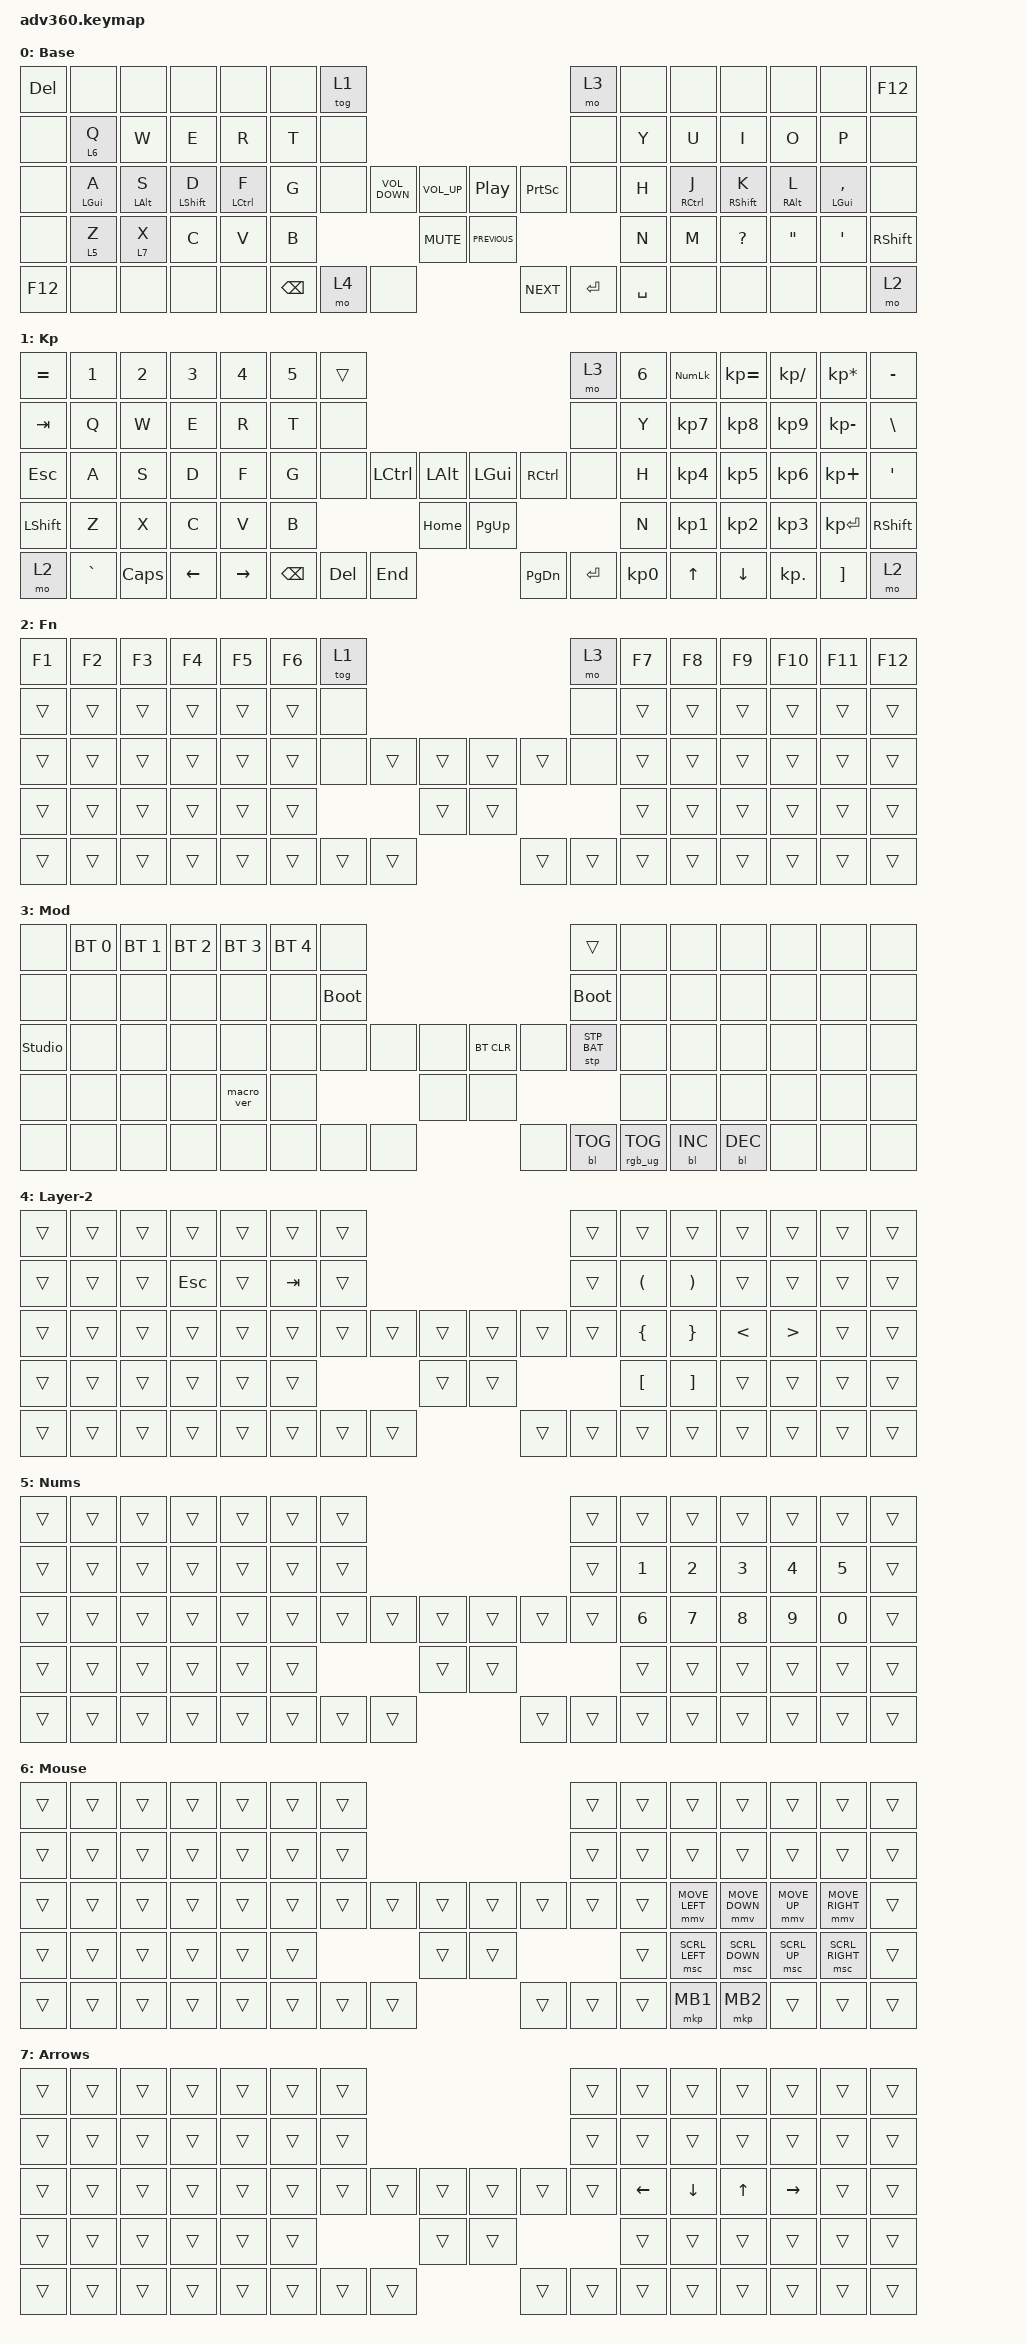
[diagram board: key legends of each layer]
#include <behaviors.dtsi>
#include <dt-bindings/zmk/keys.h>
#include <dt-bindings/zmk/bt.h>
#include <dt-bindings/zmk/rgb.h>
#include <dt-bindings/zmk/stp.h>
#include <dt-bindings/zmk/backlight.h>

#define ZMK_POINTING_DEFAULT_MOVE_VAL 1500
#define ZMK_POINTING_DEFAULT_SCRL_VAL 20

#include <dt-bindings/zmk/pointing.h>

/ {
  combos {
    compatible = "zmk,combos";

    combo_eq {
      timeout-ms = <30>;
      key-positions = <22 23>;
      bindings = <&kp EQUAL>;
    };
    combo_plus {
      timeout-ms = <30>;
      key-positions = <23 24>;
      bindings = <&kp PLUS>;
    };
    combo_pipe {
      timeout-ms = <30>;
      key-positions = <24 25>;
      bindings = <&kp PIPE>;
    };
    combo_fslash {
      timeout-ms = <30>;
      key-positions = <40 41>;
      bindings = <&kp FSLH>;
    };
    combo_bslash {
      timeout-ms = <30>;
      key-positions = <41 42>;
      bindings = <&kp BSLH>;
    };
    combo_colon {
      timeout-ms = <30>;
      key-positions = <42 43>;
      bindings = <&kp COLON>;
    };
    combo_semicolon {
      timeout-ms = <30>;
      key-positions = <43 44>;
      bindings = <&kp SEMI>;
    };
    combo_underscore {
      timeout-ms = <30>;
      key-positions = <54 55>;
      bindings = <&kp UNDER>;
    };
    combo_hyphen {
      timeout-ms = <30>;
      key-positions = <55 56>;
      bindings = <&kp MINUS>;
    };
    combo_grave {
      timeout-ms = <30>;
      key-positions = <15 16>;
      bindings = <&kp GRAVE>;
    };
    combo_tilde {
      timeout-ms = <30>;
      key-positions = <16 17>;
      bindings = <&kp TILDE>;
    };
    combo_tab {
      timeout-ms = <30>;
      key-positions = <18 19>;
      bindings = <&kp TAB>;
    };
    combo_esc {
      timeout-ms = <30>;
      key-positions = <32 33>;
      bindings = <&kp ESC>;
    };
    combo_ampersand {
      timeout-ms = <30>;
      key-positions = <29 30 31>;
      bindings = <&kp AMPS>;
    };
    combo_dollar {
      timeout-ms = <30>;
      key-positions = <30 31 32>;
      bindings = <&kp DOLLAR>;
    };
    combo_star {
      timeout-ms = <30>;
      key-positions = <47 48>;
      bindings = <&kp STAR>;
    };
    combo_percent {
      timeout-ms = <30>;
      key-positions = <48 49>;
      bindings = <&kp PRCNT>;
    };
    combo_dot_1 {
      timeout-ms = <30>;
      key-positions = <32 41>;
      bindings = <&kp DOT>;
    };
    combo_dot_2 {
      timeout-ms = <30>;
      key-positions = <41 42 43 44>;
      bindings = <&kp DOT>;
    };
  };

  behaviors {
    #include "macros.dtsi"
    #include "version.dtsi"

    hm: homerow_mods {
        compatible = "zmk,behavior-hold-tap";
        label = "HOMEROW_MODS";
        #binding-cells = <2>;
        tapping-term-ms = <150>;
        require-prior-idle-ms = <100>;
        quick_tap_ms = <175>;
        flavor = "tap-preferred";
        bindings = <&kp>, <&kp>;
    };
    layer_tap: layer_tap_hold {
        compatible = "zmk,behavior-hold-tap";
        label = "LAYER_TAP_HOLD";
        #binding-cells = <2>;
        tapping-term-ms = <150>;
        require-prior-idle-ms = <100>;
        quick_tap_ms = <175>;
        flavor = "tap-preferred";
        bindings = <&mo>, <&kp>;
    };
  };

  keymap {
    compatible = "zmk,keymap";

    default_layer {
      display-name = "Base";
      bindings = <
        &kp DEL   &none    &none   &none   &none     &none &tog 1                                                                                       &mo 3 &none  &none       &none       &none       &none   &kp F12
        &none  &layer_tap 6 Q     &kp W     &kp E    &kp R    &kp T      &none                                                                          &none &kp Y  &kp U       &kp I       &kp O       &kp P   &none
        &none   &hm LGUI A &hm LALT S &hm LSHFT D &hm LCTRL F    &kp G  &none     &kp C_VOLUME_DOWN &kp C_VOLUME_UP &kp C_PLAY_PAUSE &kp PRINTSCREEN    &none &kp H  &hm RCTRL J &hm RSHFT K &hm RALT L  &hm LGUI COMMA  &none
        &none &layer_tap 5 Z &layer_tap 7 X    &kp C    &kp V      &kp B                            &kp C_MUTE &kp C_PREVIOUS                                 &kp N  &kp M       &kp QMARK   &kp DQT     &kp SQT &kp RSHFT
        &kp F12   &none      &none    &none    &none                               &kp BSPC &mo 4 &none &kp C_NEXT &kp ENTER &kp SPACE                               &none &none       &none       &none       &mo 2
      >;
    };
    keypad {
      display-name = "Kp";
      bindings = <
        &kp EQUAL &kp N1    &kp N2   &kp N3   &kp N4     &kp N5 &trans                                                           &mo 3 &kp N6 &kp KP_NUM &kp KP_EQUAL &kp KP_DIVIDE &kp KP_MULTIPLY &kp MINUS
        &kp TAB   &kp Q     &kp W    &kp E    &kp R      &kp T  &none                                                            &none &kp Y  &kp KP_N7  &kp KP_N8    &kp KP_N9     &kp KP_MINUS    &kp BSLH
        &kp ESC   &kp A     &kp S    &kp D    &kp F      &kp G  &none           &kp LCTRL &kp LALT &kp LGUI  &kp RCTRL           &none &kp H  &kp KP_N4  &kp KP_N5    &kp KP_N6     &kp KP_PLUS     &kp SQT
        &kp LSHFT &kp Z     &kp X    &kp C    &kp V      &kp B                            &kp HOME &kp PG_UP                           &kp N  &kp KP_N1  &kp KP_N2    &kp KP_N3     &kp KP_ENTER    &kp RSHFT
        &mo 2     &kp GRAVE &kp CAPS &kp LEFT &kp RIGHT                &kp BSPC &kp DEL   &kp END  &kp PG_DN &kp ENTER &kp KP_N0              &kp UP     &kp DOWN     &kp KP_DOT    &kp RBKT        &mo 2
      >;
    };
    fn {
      display-name = "Fn";
      bindings = <
        &kp F1 &kp F2 &kp F3 &kp F4 &kp F5 &kp F6 &tog 1                                           &mo 3 &kp F7 &kp F8 &kp F9 &kp F10 &kp F11 &kp F12
        &trans &trans &trans &trans &trans &trans  &none                                           &none &trans &trans &trans &trans  &trans  &trans
        &trans &trans &trans &trans &trans &trans  &none        &trans &trans &trans &trans        &none &trans &trans &trans &trans  &trans  &trans
        &trans &trans &trans &trans &trans &trans                      &trans &trans                     &trans &trans &trans &trans  &trans  &trans
        &trans &trans &trans &trans &trans               &trans &trans &trans &trans &trans &trans              &trans &trans &trans  &trans  &trans
      >;
    };
    mod {
      display-name = "Mod";
      bindings = <
        &none &bt BT_SEL 0 &bt BT_SEL 1 &bt BT_SEL 2 &bt BT_SEL 3 &bt BT_SEL 4 &none                                                                     &trans                 &none        &none        &none        &none &none &none
        &none &none        &none        &none        &none        &none        &bootloader                                                               &bootloader            &none        &none        &none        &none &none &none
        &studio_unlock &none        &none        &none        &none        &none        &none                   &none &none &bt BT_CLR &none                      &stp STP_BAT &none        &none        &none        &none &none &none
        &none &none        &none        &none        &macro_ver   &none                                      &none &none                                                        &none        &none        &none        &none &none &none
        &none &none        &none        &none        &none                                       &none &none &none &none      &bl BL_TOG &rgb_ug RGB_TOG                                     &bl BL_INC   &bl BL_DEC   &none &none &none
      >;
    };
    layer2 {
      display-name = "Layer-2";
      bindings = <
        &trans &trans &trans &trans  &trans &trans &trans                                                           &trans &trans &trans &trans &trans &trans &trans
        &trans &trans &trans &kp ESC &trans &kp TAB &trans                                                           &trans &kp LPAR &kp RPAR &trans &trans &trans &trans
        &trans &trans &trans &trans  &trans &trans &trans           &trans &trans &trans &trans                    &trans  &kp LBRC &kp RBRC &kp LT &kp GT &trans &trans
        &trans &trans &trans &trans  &trans &trans                           &trans &trans                                 &kp LBKT &kp RBKT &trans &trans &trans &trans
        &trans &trans &trans &trans  &trans               &trans &trans &trans &trans &trans &trans                        &trans &trans &trans &trans &trans
      >;
    };
    nums {
      display-name = "Nums";
      bindings = <
        &trans &trans &trans &trans &trans &trans &trans                                                           &trans &trans &trans &trans &trans &trans &trans
        &trans &trans &trans &trans &trans &trans &trans                                                           &trans &kp N1 &kp N2 &kp N3 &kp N4 &kp N5 &trans
        &trans &trans &trans &trans &trans &trans &trans           &trans &trans &trans &trans                     &trans &kp N6 &kp N7 &kp N8 &kp N9 &kp N0 &trans
        &trans &trans &trans &trans &trans &trans                           &trans &trans                               &trans &trans &trans &trans &trans &trans
        &trans &trans &trans &trans &trans               &trans &trans &trans &trans &trans &trans                        &trans &trans &trans &trans &trans
      >;
    };
    mouse {
      display-name = "Mouse";
      bindings = <
        &trans &trans &trans &trans &trans &trans &trans                                                           &trans &trans &trans &trans &trans &trans &trans
        &trans &trans &trans &trans &trans &trans &trans                                                           &trans &trans &trans &trans &trans &trans &trans
        &trans &trans &trans &trans &trans &trans &trans            &trans &trans &trans &trans                    &trans &trans &mmv MOVE_LEFT &mmv MOVE_DOWN &mmv MOVE_UP &mmv MOVE_RIGHT  &trans
        &trans &trans &trans &trans &trans &trans                           &trans &trans                               &trans &msc SCRL_LEFT &msc SCRL_DOWN &msc SCRL_UP &msc SCRL_RIGHT  &trans
        &trans &trans &trans &trans &trans               &trans &trans &trans &trans &trans &trans                        &mkp MB1 &mkp MB2 &trans &trans &trans
      >;
    };
    arrows {
      display-name = "Arrows";
      bindings = <
        &trans &trans &trans &trans &trans &trans &trans                                                           &trans &trans &trans &trans &trans &trans &trans
        &trans &trans &trans &trans &trans &trans &trans                                                           &trans &trans &trans &trans &trans &trans &trans
        &trans &trans &trans &trans &trans &trans &trans           &trans &trans &trans &trans                     &trans &kp LEFT &kp DOWN &kp UP &kp RIGHT &trans &trans
        &trans &trans &trans &trans &trans &trans                           &trans &trans                               &trans &trans &trans &trans &trans &trans
        &trans &trans &trans &trans &trans               &trans &trans &trans &trans &trans &trans                        &trans &trans &trans &trans &trans
      >;
    };
    extra1 { 
      display-name = "Red";    
      status = "reserved";
    };
  };
};
